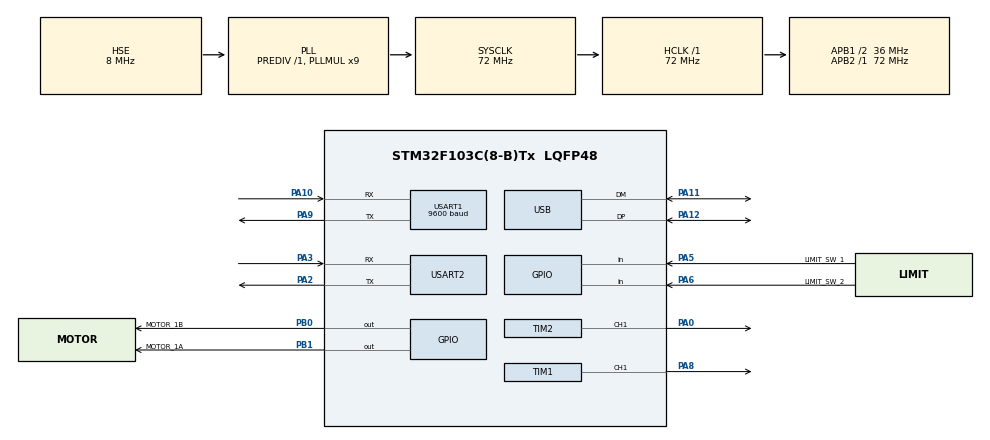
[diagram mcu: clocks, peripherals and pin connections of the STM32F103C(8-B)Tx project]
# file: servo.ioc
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Mcu.Family=STM32F1
Mcu.Name=STM32F103C(8-B)Tx
Mcu.Package=LQFP48
NVIC.PriorityGroup=NVIC_PRIORITYGROUP_4
NVIC.TIM2_IRQn=true\:0\:0\:false\:false\:true\:true\:true
NVIC.USART1_IRQn=true\:0\:0\:false\:false\:true\:true\:true
NVIC.USART2_IRQn=true\:0\:0\:false\:false\:true\:true\:true
NVIC.USB_LP_CAN1_RX0_IRQn=true\:0\:0\:false\:false\:true\:false\:true
PA0-WKUP.Signal=S_TIM2_CH1_ETR
PA10.Mode=Asynchronous
PA10.Signal=USART1_RX
PA11.Mode=Device
PA11.Signal=USB_DM
PA12.Mode=Device
PA12.Signal=USB_DP
PA2.Mode=Asynchronous
PA2.Signal=USART2_TX
PA3.Mode=Asynchronous
PA3.Signal=USART2_RX
PA5.GPIO_Label=LIMIT_SW_1
PA5.GPIO_PuPd=GPIO_PULLUP
PA5.Signal=GPIO_Input
PA6.GPIO_Label=LIMIT_SW_2
PA6.GPIO_PuPd=GPIO_PULLUP
PA6.Signal=GPIO_Input
PA8.Signal=S_TIM1_CH1
PA9.Mode=Asynchronous
PA9.Signal=USART1_TX
PB0.GPIO_Label=MOTOR_1B
PB0.Signal=GPIO_Output
PB1.GPIO_Label=MOTOR_1A
PB1.Signal=GPIO_Output
PD0-OSC_IN.Mode=HSE-External-Oscillator
PD0-OSC_IN.Signal=RCC_OSC_IN
PD1-OSC_OUT.Mode=HSE-External-Oscillator
PD1-OSC_OUT.Signal=RCC_OSC_OUT
ProjectManager.HeapSize=0x200
ProjectManager.StackSize=0x400
ProjectManager.TargetToolchain=STM32CubeIDE
RCC.AHBFreq_Value=72000000
RCC.APB1CLKDivider=RCC_HCLK_DIV2
RCC.APB1Freq_Value=36000000
RCC.APB1TimFreq_Value=72000000
RCC.APB2Freq_Value=72000000
RCC.APB2TimFreq_Value=72000000
RCC.HCLKFreq_Value=72000000
RCC.PLLMUL=RCC_PLL_MUL9
RCC.PLLSourceVirtual=RCC_PLLSOURCE_HSE
RCC.SYSCLKFreq_VALUE=72000000
RCC.SYSCLKSource=RCC_SYSCLKSOURCE_PLLCLK
RCC.USBFreq_Value=48000000
RCC.USBPrescaler=RCC_USBCLKSOURCE_PLL_DIV1_5
SH.S_TIM1_CH1.0=TIM1_CH1,PWM Generation1 CH1
SH.S_TIM2_CH1_ETR.0=TIM2_CH1,PWM Generation1 CH1
TIM1.Channel-PWM\ Generation1\ CH1=TIM_CHANNEL_1
TIM1.Period=1000
TIM1.Prescaler=1440
TIM2.Channel-PWM\ Generation1\ CH1=TIM_CHANNEL_1
TIM2.Period=1000
TIM2.Prescaler=1440
USART1.BaudRate=9600
USART1.VirtualMode=VM_ASYNC
USART2.VirtualMode=VM_ASYNC
USB_DEVICE.CLASS_NAME_FS=CDC
USB_DEVICE.VirtualMode=Cdc
USB_DEVICE.VirtualModeFS=Cdc_FS
VP_SYS_VS_ND.Mode=No_Debug
VP_TIM1_VS_ClockSourceINT.Mode=Internal
VP_TIM2_VS_ClockSourceINT.Mode=Internal
VP_USB_DEVICE_VS_USB_DEVICE_CDC_FS.Mode=CDC_FS
board=custom

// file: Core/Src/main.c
/* USER CODE BEGIN Header */
/**
  ******************************************************************************
  * @file           : main.c
  * @brief          : Main program body
  ******************************************************************************
  * @attention
  *
  * <h2><center>&copy; Copyright (c) 2020 STMicroelectronics.
  * All rights reserved.</center></h2>
  *
  * This software component is licensed by ST under BSD 3-Clause license,
  * the "License"; You may not use this file except in compliance with the
  * License. You may obtain a copy of the License at:
  *                        opensource.org/licenses/BSD-3-Clause
  *
  ******************************************************************************
  */
/* USER CODE END Header */

#include "main.h"
#include "tim.h"
#include "usart.h"
#include "usb_device.h"
#include "gpio.h"

/* USER CODE BEGIN Includes */
#include "eeprom.h"
#include "eepromConf.h"
/* USER CODE END Includes */

void SystemClock_Config(void);

/* USER CODE BEGIN 0 */
int i=25;
extern uint8_t buffer_rx[2];
int Servo_A_pos=25;
int Servo_B_pos=25;
uint8_t step_delay=70;
uint32_t dat[10]={};
uint8_t byte0=0,byte1=0,byte2=0,byte3=0;
uint32_t str[]={'H','E','L','L','O'};
/* USER CODE END 0 */

int main(void)
{

  /* MCU Configuration--------------------------------------------------------*/

  /* Reset of all peripherals, Initializes the Flash interface and the Systick. */
  HAL_Init();

  /* Configure the system clock */
  SystemClock_Config();

  /* Initialize all configured peripherals */
  MX_GPIO_Init();
  MX_TIM2_Init();
  MX_USART1_UART_Init();
  MX_USART2_UART_Init();
  MX_USB_DEVICE_Init();
  MX_TIM1_Init();
  /* USER CODE BEGIN 2 */
  HAL_UART_RxCpltCallback(&huart1);
  HAL_Delay(500);
  HAL_UART_Transmit(&huart2,(uint8_t * )"START",5,10);
  HAL_Delay(500);
 /* if(EE_Format())
  {
	  HAL_UART_Transmit(&huart2,(uint8_t * )"ERASE DONE",10,10);
  }
  if(EE_Writes(0x10,5,str))
  {
  HAL_UART_Transmit(&huart2,(uint8_t * )"WRITE DONE",10,10);
  }
  if(EE_Reads(0x10,5,dat))
  {
  byte0 = ((dat[0] >> 24) & 0xFF) ;
  byte1 = ((dat[0] >> 16) & 0xFF) ;
  byte2 = ((dat[0] >> 8 ) & 0XFF);
  byte3 = (dat[0] & 0XFF);
  HAL_UART_Transmit(&huart2,(uint8_t * )"READ DONE : ",12,10);
  HAL_UART_Transmit(&huart2,&byte0,1,10);
  HAL_UART_Transmit(&huart2,&byte1,1,10);
  HAL_UART_Transmit(&huart2,&byte2,1,10);
  HAL_UART_Transmit(&huart2,&byte3,1,10);
  }*/
  /* USER CODE END 2 */

  /* Infinite loop */
  while (1)
  {

    /* USER CODE BEGIN 3 */
	  AttachDcmotor();
	  AttachServo();
  }
  /* USER CODE END 3 */
}

void SystemClock_Config(void)
{
  RCC_OscInitTypeDef RCC_OscInitStruct = {0};
  RCC_ClkInitTypeDef RCC_ClkInitStruct = {0};
  RCC_PeriphCLKInitTypeDef PeriphClkInit = {0};

  /** Initializes the CPU, AHB and APB busses clocks
  */
  RCC_OscInitStruct.OscillatorType = RCC_OSCILLATORTYPE_HSE;
  RCC_OscInitStruct.HSEState = RCC_HSE_ON;
  RCC_OscInitStruct.HSEPredivValue = RCC_HSE_PREDIV_DIV1;
  RCC_OscInitStruct.HSIState = RCC_HSI_ON;
  RCC_OscInitStruct.PLL.PLLState = RCC_PLL_ON;
  RCC_OscInitStruct.PLL.PLLSource = RCC_PLLSOURCE_HSE;
  RCC_OscInitStruct.PLL.PLLMUL = RCC_PLL_MUL9;
  if (HAL_RCC_OscConfig(&RCC_OscInitStruct) != HAL_OK)
  {
    Error_Handler();
  }
  /** Initializes the CPU, AHB and APB busses clocks
  */
  RCC_ClkInitStruct.ClockType = RCC_CLOCKTYPE_HCLK|RCC_CLOCKTYPE_SYSCLK
                              |RCC_CLOCKTYPE_PCLK1|RCC_CLOCKTYPE_PCLK2;
  RCC_ClkInitStruct.SYSCLKSource = RCC_SYSCLKSOURCE_PLLCLK;
  RCC_ClkInitStruct.AHBCLKDivider = RCC_SYSCLK_DIV1;
  RCC_ClkInitStruct.APB1CLKDivider = RCC_HCLK_DIV2;
  RCC_ClkInitStruct.APB2CLKDivider = RCC_HCLK_DIV1;

  if (HAL_RCC_ClockConfig(&RCC_ClkInitStruct, FLASH_LATENCY_2) != HAL_OK)
  {
    Error_Handler();
  }
  PeriphClkInit.PeriphClockSelection = RCC_PERIPHCLK_USB;
  PeriphClkInit.UsbClockSelection = RCC_USBCLKSOURCE_PLL_DIV1_5;
  if (HAL_RCCEx_PeriphCLKConfig(&PeriphClkInit) != HAL_OK)
  {
    Error_Handler();
  }
}

/* USER CODE BEGIN 4 */

void AttachDcmotor(void)
{

 if(buffer_rx[0]=='5' && buffer_rx[1]=='5')
   {
     if(HAL_GPIO_ReadPin(GPIOA, LIMIT_SW_2_Pin))
     {
    	 HAL_GPIO_WritePin(GPIOB, MOTOR_1A_Pin, GPIO_PIN_RESET);
    	 HAL_GPIO_WritePin(GPIOB, MOTOR_1B_Pin, GPIO_PIN_SET);
     }
     else
     {
    	 //HAL_GPIO_WritePin(GPIOB, MOTOR_1A_Pin, GPIO_PIN_RESET);
    	// HAL_GPIO_WritePin(GPIOB, MOTOR_1B_Pin, GPIO_PIN_RESET);
    	 HAL_UART_Transmit(&huart2,(uint8_t * )"SW2 Reached\r\n",13,100);
    	 HAL_Delay(100);
     }
   }

 if(buffer_rx[0]=='6' && buffer_rx[1]=='6')
   {
     if(HAL_GPIO_ReadPin(GPIOA, LIMIT_SW_1_Pin))
     {
    	 HAL_GPIO_WritePin(GPIOB, MOTOR_1A_Pin, GPIO_PIN_SET);
    	 HAL_GPIO_WritePin(GPIOB, MOTOR_1B_Pin, GPIO_PIN_RESET);

     }
     else
     {
    	 HAL_GPIO_WritePin(GPIOB, MOTOR_1A_Pin, GPIO_PIN_RESET);
    	 HAL_GPIO_WritePin(GPIOB, MOTOR_1B_Pin, GPIO_PIN_RESET);
    	 HAL_UART_Transmit(&huart2,(uint8_t * )"SW1 Reached\r\n",13,10);
    	 HAL_Delay(100);
      }

    }

 if(buffer_rx[0]=='1' && buffer_rx[1]=='0')
    {
    	 HAL_GPIO_WritePin(GPIOB, MOTOR_1A_Pin, GPIO_PIN_RESET);
    	 HAL_GPIO_WritePin(GPIOB, MOTOR_1B_Pin, GPIO_PIN_RESET);
    }
}

void AttachServo(void)
{

   if(buffer_rx[0]=='3' && buffer_rx[1]=='3')
   {
      if(Servo_A_pos>24 && Servo_A_pos<126)
      {

		  htim2.Instance->CCR1 = Servo_A_pos;  // duty cycle is .5 ms
		  HAL_TIM_PWM_Start(&htim2,TIM_CHANNEL_1);
		  Servo_A_pos=Servo_A_pos+1;
		  HAL_Delay(step_delay);
		  if(Servo_A_pos==126)
			  {Servo_A_pos=125;}

      }

   }
   else if(buffer_rx[0]=='4' && buffer_rx[1]=='4')
   {
      if(Servo_A_pos>24 && Servo_A_pos<126)
      {

		  htim2.Instance->CCR1 = Servo_A_pos;  // duty cycle is .5 ms
		  HAL_TIM_PWM_Start(&htim2,TIM_CHANNEL_1);
		  Servo_A_pos=Servo_A_pos-1;
		  HAL_Delay(step_delay);
		  if(Servo_A_pos==24)
		  { Servo_A_pos=25;}
      }
   }
   else if(buffer_rx[0]=='1' && buffer_rx[1]=='1')
   {
      if(Servo_B_pos>24 && Servo_B_pos<126)
      {

		  htim1.Instance->CCR1 = Servo_B_pos;  // duty cycle is .5 ms
		  HAL_TIM_PWM_Start(&htim1,TIM_CHANNEL_1);
		  Servo_B_pos=Servo_B_pos+1;
		  HAL_Delay(step_delay);
		  if(Servo_B_pos==126)
		  			  {Servo_B_pos=125;}
      }

   }
   else if(buffer_rx[0]=='2' && buffer_rx[1]=='2')
   {
     if(Servo_B_pos>24 && Servo_B_pos<126)
      {
		 htim1.Instance->CCR1 = Servo_B_pos;  // duty cycle is .5 ms
		  HAL_TIM_PWM_Start(&htim1,TIM_CHANNEL_1);
		  Servo_B_pos=Servo_B_pos-1;
		  HAL_Delay(step_delay);
		  if(Servo_B_pos==24)
		 		  { Servo_B_pos=25;}

      }
   }

}
/* USER CODE END 4 */

void Error_Handler(void)
{
}

/************************ (C) COPYRIGHT STMicroelectronics *****END OF FILE****/
